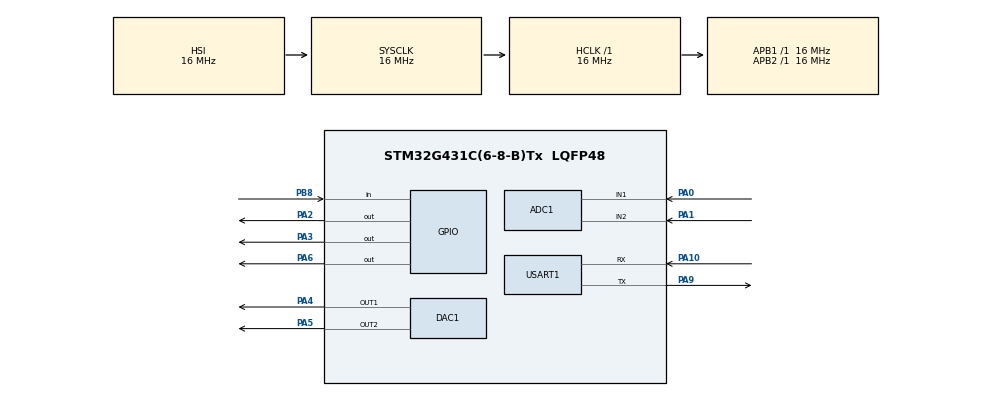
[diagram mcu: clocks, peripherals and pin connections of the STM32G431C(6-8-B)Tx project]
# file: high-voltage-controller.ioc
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ADC1.Channel-3\#ChannelRegularConversion=ADC_CHANNEL_1
ADC1.Channel-4\#ChannelRegularConversion=ADC_CHANNEL_1
ADC1.ContinuousConvMode=ENABLE
ADC1.DMAContinuousRequests=ENABLE
ADC1.EOCSelection=ADC_EOC_SEQ_CONV
ADC1.NbrOfConversion=2
ADC1.NbrOfConversionFlag=1
ADC1.OffsetNumber-3\#ChannelRegularConversion=ADC_OFFSET_NONE
ADC1.OffsetNumber-4\#ChannelRegularConversion=ADC_OFFSET_NONE
ADC1.Rank-3\#ChannelRegularConversion=1
ADC1.Rank-4\#ChannelRegularConversion=2
ADC1.SamplingTime-3\#ChannelRegularConversion=ADC_SAMPLETIME_640CYCLES_5
ADC1.SamplingTime-4\#ChannelRegularConversion=ADC_SAMPLETIME_640CYCLES_5
ADC1.master=1
DAC1.DAC_Channel-DAC_OUT2=DAC_CHANNEL_2
DAC1.DAC_Trigger_OUT2-DAC_OUT2=DAC_TRIGGER_T6_TRGO
Dma.ADC1.0.Direction=DMA_PERIPH_TO_MEMORY
Dma.ADC1.0.EventEnable=DISABLE
Dma.ADC1.0.Instance=DMA1_Channel3
Dma.ADC1.0.MemDataAlignment=DMA_MDATAALIGN_HALFWORD
Dma.ADC1.0.MemInc=DMA_MINC_ENABLE
Dma.ADC1.0.Mode=DMA_CIRCULAR
Dma.ADC1.0.PeriphDataAlignment=DMA_PDATAALIGN_HALFWORD
Dma.ADC1.0.PeriphInc=DMA_PINC_DISABLE
Dma.ADC1.0.Polarity=HAL_DMAMUX_REQ_GEN_RISING
Dma.ADC1.0.Priority=DMA_PRIORITY_LOW
Dma.ADC1.0.RequestNumber=1
Dma.ADC1.0.SignalID=NONE
Dma.ADC1.0.SyncEnable=DISABLE
Dma.ADC1.0.SyncPolarity=HAL_DMAMUX_SYNC_NO_EVENT
Dma.ADC1.0.SyncRequestNumber=1
Dma.ADC1.0.SyncSignalID=NONE
Dma.DAC1_CH2.1.Direction=DMA_MEMORY_TO_PERIPH
Dma.DAC1_CH2.1.EventEnable=DISABLE
Dma.DAC1_CH2.1.Instance=DMA1_Channel2
Dma.DAC1_CH2.1.MemDataAlignment=DMA_MDATAALIGN_HALFWORD
Dma.DAC1_CH2.1.MemInc=DMA_MINC_ENABLE
Dma.DAC1_CH2.1.Mode=DMA_NORMAL
Dma.DAC1_CH2.1.PeriphDataAlignment=DMA_PDATAALIGN_HALFWORD
Dma.DAC1_CH2.1.PeriphInc=DMA_PINC_DISABLE
Dma.DAC1_CH2.1.Polarity=HAL_DMAMUX_REQ_GEN_RISING
Dma.DAC1_CH2.1.Priority=DMA_PRIORITY_LOW
Dma.DAC1_CH2.1.RequestNumber=1
Dma.DAC1_CH2.1.SignalID=NONE
Dma.DAC1_CH2.1.SyncEnable=DISABLE
Dma.DAC1_CH2.1.SyncPolarity=HAL_DMAMUX_SYNC_NO_EVENT
Dma.DAC1_CH2.1.SyncRequestNumber=1
Dma.DAC1_CH2.1.SyncSignalID=NONE
Dma.Request0=ADC1
Dma.Request1=DAC1_CH2
Mcu.Family=STM32G4
Mcu.Name=STM32G431C(6-8-B)Tx
Mcu.Package=LQFP48
NVIC.DMA1_Channel2_IRQn=true\:0\:0\:false\:false\:true\:false\:true\:true
NVIC.DMA1_Channel3_IRQn=true\:0\:0\:false\:false\:true\:false\:true\:true
NVIC.PriorityGroup=NVIC_PRIORITYGROUP_4
NVIC.USART1_IRQn=true\:0\:0\:false\:false\:true\:true\:true\:true
PA0.Mode=IN1-Single-Ended
PA0.Signal=ADC1_IN1
PA1.Mode=IN2-Single-Ended
PA1.Signal=ADC1_IN2
PA10.Mode=Asynchronous
PA10.Signal=USART1_RX
PA13.Mode=Serial_Wire
PA13.Signal=SYS_JTMS-SWDIO
PA14.Mode=Serial_Wire
PA14.Signal=SYS_JTCK-SWCLK
PA2.GPIO_PuPd=GPIO_PULLDOWN
PA2.Signal=GPIO_Output
PA3.GPIO_PuPd=GPIO_PULLDOWN
PA3.Signal=GPIO_Output
PA4.Signal=SharedAnalog_PA4
PA5.Signal=SharedAnalog_PA5
PA6.GPIO_PuPd=GPIO_PULLDOWN
PA6.Signal=GPIO_Output
PA9.Mode=Asynchronous
PA9.Signal=USART1_TX
PB3.Signal=SYS_JTDO-SWO
PB8-BOOT0.Signal=GPIO_Input
ProjectManager.HeapSize=0x200
ProjectManager.StackSize=0x400
ProjectManager.TargetToolchain=CMake
RCC.ADC12Freq_Value=16000000
RCC.AHBFreq_Value=16000000
RCC.APB1Freq_Value=16000000
RCC.APB1TimFreq_Value=16000000
RCC.APB2Freq_Value=16000000
RCC.APB2TimFreq_Value=16000000
RCC.CortexFreq_Value=16000000
RCC.EXTERNAL_CLOCK_VALUE=12288000
RCC.HCLKFreq_Value=16000000
RCC.HSE_VALUE=8000000
RCC.HSI48_VALUE=48000000
RCC.HSI_VALUE=16000000
RCC.LSE_VALUE=32768
RCC.SYSCLKFreq_VALUE=16000000
RCC.USBFreq_Value=64000000
RCC.VCOOutputFreq_Value=128000000
SH.SharedAnalog_PA4.0=GPIO_Analog
SH.SharedAnalog_PA4.1=DAC1_OUT1,DAC_OUT1
SH.SharedAnalog_PA5.0=GPIO_Analog
SH.SharedAnalog_PA5.1=DAC1_OUT2,DAC_OUT2
SYS.VoltageScaling=SYSCFG_VREFBUF_VOLTAGE_SCALE1
TIM6.AutoReloadPreload=TIM_AUTORELOAD_PRELOAD_ENABLE
TIM6.PeriodNoDither=999
TIM6.Prescaler=15999
TIM6.TIM_MasterOutputTrigger=TIM_TRGO_UPDATE
USART1.VirtualMode-Asynchronous=VM_ASYNC
VP_SYS_VS_DBSignals.Mode=DisableDeadBatterySignals
VP_TIM6_VS_ClockSourceINT.Mode=Enable_Timer
VREF+.Mode=InternalMode
VREF+.Signal=VREFBUF_OUT
board=custom

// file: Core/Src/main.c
/* USER CODE BEGIN Header */
/**
  ******************************************************************************
  * @file           : main.c
  * @brief          : Main program body
  ******************************************************************************
  * @attention
  *
  * Copyright (c) 2026 STMicroelectronics.
  * All rights reserved.
  *
  * This software is licensed under terms that can be found in the LICENSE file
  * in the root directory of this software component.
  * If no LICENSE file comes with this software, it is provided AS-IS.
  *
  ******************************************************************************
  */
/* USER CODE END Header */
#include "main.h"

/* USER CODE BEGIN Includes */
#include <inttypes.h>

/* USER CODE END Includes */

ADC_HandleTypeDef hadc1;
DMA_HandleTypeDef hdma_adc1;

DAC_HandleTypeDef hdac1;
DMA_HandleTypeDef hdma_dac1_ch2;

TIM_HandleTypeDef htim6;

UART_HandleTypeDef huart1;

/* USER CODE BEGIN PV */
// Data variables
#define MAX_POINTS 1000
#define V_REF 2.5f // use 2.5V analog reference voltage
#define CURRENT_LIMIT_VOLTAGE 0.2f
#define ADC_READ_PERIOD 20 // in ms

// TEST
volatile uint32_t dac_index = 0;
uint16_t current_dac_value = 0;

// GPIO variables
#define CTRL_PORT        GPIOA
#define PIN_OUTPUT_CTRL  GPIO_PIN_10
#define PIN_REMOTE_CTRL  GPIO_PIN_11
#define PIN_INTERLOCK    GPIO_PIN_14

// MCU state logic
typedef enum {
  STATE_WAIT_HEADER,
  STATE_WAIT_PAYLOAD,
  STATE_READY,
  STATE_RUNNING
} AppState_t;

volatile AppState_t sys_state = STATE_WAIT_HEADER;

// RX: Signal Data
typedef struct __attribute__((packed)) {
    char header; // 'D' for data
    uint32_t num_points;
    float time_step;
} DataHeader_t;

DataHeader_t rx_header;
float rx_voltages[MAX_POINTS];
uint16_t dac_buffer[MAX_POINTS];
char rx_flag;

// Misc flags
// 2 bytes: rx_cmd[0] = Command (S, O), rx_cmd[1] = Parameter (1 or 0)
// S: start experiment, O: turn off
uint8_t rx_cmd[2];

// TX: ADC Data
uint16_t adc_values[2]; // 0: voltage, 1: current

typedef struct __attribute__((packed)) {
    uint16_t sync_word; // 0xA5A5
    uint16_t v_adc;
    uint16_t i_adc;
} TelemetryPacket_t;

TelemetryPacket_t tx_packet = { .sync_word = 0xA5A5 };
uint32_t last_tx_tick = 0;
/* USER CODE END PV */

void SystemClock_Config(void);
static void MX_GPIO_Init(void);
static void MX_DMA_Init(void);
static void MX_DAC1_Init(void);
static void MX_TIM6_Init(void);
static void MX_ADC1_Init(void);
static void MX_USART1_UART_Init(void);

/* USER CODE BEGIN 0 */
void Configure_TIM6_TimeStep(float dt_minutes) {
  float dt_seconds = dt_minutes * 60.0f;
  HAL_TIM_Base_Stop(&htim6);

  uint32_t prescaler = 15999;
  uint32_t arr_value = (uint32_t)(dt_seconds * 10000.0f) - 1;

  if (arr_value > 65535) {
      prescaler = 63999;
      arr_value = (uint32_t)(dt_seconds * 2500.0f) - 1;
  }

  __HAL_TIM_SET_PRESCALER(&htim6, prescaler);
  __HAL_TIM_SET_AUTORELOAD(&htim6, arr_value);

  htim6.Instance->EGR = TIM_EGR_UG;

  __HAL_TIM_SET_COUNTER(&htim6, 0);

}

void HAL_UART_RxCpltCallback(UART_HandleTypeDef *huart) {
  if (huart->Instance == USART1) {

      // State logic
      switch (sys_state) {
          case STATE_WAIT_HEADER:
              if (rx_header.header == 'D') {
                  sys_state = STATE_WAIT_PAYLOAD;
                  // Read incoming data
                  HAL_UART_Receive_IT(&huart1, (uint8_t*)rx_voltages, rx_header.num_points * sizeof(float));
              } else {
                  // Invalid data; flush and try again
                  HAL_UART_Receive_IT(&huart1, (uint8_t*)&rx_header, sizeof(DataHeader_t));
              }
              break;

          case STATE_WAIT_PAYLOAD:
              // Process data into DAC inputs
              for (uint32_t i = 0; i < rx_header.num_points; i++) {
                  dac_buffer[i] = rx_voltages[i];
              }

              // Set timer speed
              Configure_TIM6_TimeStep(rx_header.time_step);

              // Tell PC the MCU is ready
              uint8_t ready_msg = 'R';
              HAL_UART_Transmit_IT(&huart1, &ready_msg, 1);

              sys_state = STATE_READY;

              __HAL_UART_CLEAR_OREFLAG(&huart1);
              __HAL_UART_CLEAR_NEFLAG(&huart1);
              __HAL_UART_CLEAR_FEFLAG(&huart1);

              uint32_t dummy = huart1.Instance->RDR;
              (void)dummy;

              // Now re-arm the interrupt
              HAL_UART_Receive_IT(&huart1, rx_cmd, 2);

              HAL_UART_Receive_IT(&huart1, rx_cmd, 2);
              break;

          case STATE_READY:
          case STATE_RUNNING:
              // S: Start experiment
              if (sys_state == STATE_READY && rx_cmd[0] == 'S') {
                  HAL_TIM_Base_Stop(&htim6);

                  __HAL_DAC_CLEAR_FLAG(&hdac1, DAC_FLAG_DMAUDR2);

                  WRITE_REG(DMA1->IFCR, DMA_IFCR_CTCIF2 | DMA_IFCR_CHTIF2 | DMA_IFCR_CTEIF2 | DMA_IFCR_CGIF2);
                  // Set DAC CH2 to output data
                  HAL_DAC_Start_DMA(&hdac1, DAC_CHANNEL_2, (uint32_t*) dac_buffer, rx_header.num_points, DAC_ALIGN_12B_R);
                  HAL_TIM_Base_Start(&htim6);

                  // Set interlock ON
                  HAL_GPIO_WritePin(CTRL_PORT, PIN_OUTPUT_CTRL, GPIO_PIN_SET);
                  sys_state = STATE_RUNNING;
              }

              // O: Turn Off flag
              else if (rx_cmd[0] == 'O') {
                  HAL_TIM_Base_Stop(&htim6);
                  HAL_DAC_Stop_DMA(&hdac1, DAC_CHANNEL_2);

                  // Set output off
                  HAL_GPIO_WritePin(CTRL_PORT, PIN_OUTPUT_CTRL, GPIO_PIN_RESET);
                  sys_state = STATE_READY;
              }
              // C: Remote / Local Control flag
              else if (rx_cmd[0] == 'C') {
                  if (rx_cmd[1] == 1 || rx_cmd[1] == '1') {
                      HAL_GPIO_WritePin(CTRL_PORT, PIN_REMOTE_CTRL, GPIO_PIN_SET);   // Remote (Pin 11 HIGH)
                  } else if (rx_cmd[1] == 0 || rx_cmd[1] == '0') {
                      HAL_GPIO_WritePin(CTRL_PORT, PIN_REMOTE_CTRL, GPIO_PIN_RESET); // Front Panel / Local (Pin 11 LOW)
                  }
              }

              HAL_UART_Receive_IT(&huart1, rx_cmd, 2);
              break;

      }
  }
}
/* USER CODE END 0 */

int main(void)
{

  /* MCU Configuration--------------------------------------------------------*/

  /* Reset of all peripherals, Initializes the Flash interface and the Systick. */
  HAL_Init();

  /* Configure the system clock */
  SystemClock_Config();

  /* Initialize all configured peripherals */
  MX_GPIO_Init();
  MX_DMA_Init();
  MX_DAC1_Init();
  MX_TIM6_Init();
  MX_ADC1_Init();
  MX_USART1_UART_Init();
  /* USER CODE BEGIN 2 */

  // Set DAC CH1 output | limit / 2 since op amp gain is 2
  uint32_t current_limit_dac_val = (uint32_t) (((CURRENT_LIMIT_VOLTAGE / 2) / V_REF) * 4095.0f);
  HAL_DAC_SetValue(&hdac1, DAC_CHANNEL_1, DAC_ALIGN_12B_R, current_limit_dac_val);
  HAL_DAC_Start(&hdac1, DAC_CHANNEL_1);

  // Start ADC monitoring
  HAL_ADCEx_Calibration_Start(&hadc1, ADC_SINGLE_ENDED);
  HAL_ADC_Start_DMA(&hadc1, (uint32_t*)adc_values, 2);

  // State logic
  sys_state = STATE_WAIT_HEADER;
  HAL_UART_Receive_IT(&huart1, (uint8_t*)&rx_header, sizeof(DataHeader_t));

  /* USER CODE END 2 */

  /* Infinite loop */
  while (1)
  {

    /* USER CODE BEGIN 3 */
    if (sys_state == STATE_RUNNING) {

        // Transmit ADC data every 20ms (50 Hz)
        if (HAL_GetTick() - last_tx_tick >= ADC_READ_PERIOD) {

            if (huart1.gState == HAL_UART_STATE_READY) {
                last_tx_tick = HAL_GetTick();

                tx_packet.v_adc = adc_values[0];
                tx_packet.i_adc = adc_values[1];

                // Send ADC data to PC
                HAL_UART_Transmit_IT(&huart1, (uint8_t*)&tx_packet, sizeof(TelemetryPacket_t));
            }
        }
    }
  }
  /* USER CODE END 3 */
}

void SystemClock_Config(void)
{
  RCC_OscInitTypeDef RCC_OscInitStruct = {0};
  RCC_ClkInitTypeDef RCC_ClkInitStruct = {0};

  /** Configure the main internal regulator output voltage
  */
  HAL_PWREx_ControlVoltageScaling(PWR_REGULATOR_VOLTAGE_SCALE1);

  /** Initializes the RCC Oscillators according to the specified parameters
  * in the RCC_OscInitTypeDef structure.
  */
  RCC_OscInitStruct.OscillatorType = RCC_OSCILLATORTYPE_HSI;
  RCC_OscInitStruct.HSIState = RCC_HSI_ON;
  RCC_OscInitStruct.HSICalibrationValue = RCC_HSICALIBRATION_DEFAULT;
  RCC_OscInitStruct.PLL.PLLState = RCC_PLL_NONE;
  if (HAL_RCC_OscConfig(&RCC_OscInitStruct) != HAL_OK)
  {
    Error_Handler();
  }

  /** Initializes the CPU, AHB and APB buses clocks
  */
  RCC_ClkInitStruct.ClockType = RCC_CLOCKTYPE_HCLK|RCC_CLOCKTYPE_SYSCLK
                              |RCC_CLOCKTYPE_PCLK1|RCC_CLOCKTYPE_PCLK2;
  RCC_ClkInitStruct.SYSCLKSource = RCC_SYSCLKSOURCE_HSI;
  RCC_ClkInitStruct.AHBCLKDivider = RCC_SYSCLK_DIV1;
  RCC_ClkInitStruct.APB1CLKDivider = RCC_HCLK_DIV1;
  RCC_ClkInitStruct.APB2CLKDivider = RCC_HCLK_DIV1;

  if (HAL_RCC_ClockConfig(&RCC_ClkInitStruct, FLASH_LATENCY_0) != HAL_OK)
  {
    Error_Handler();
  }
}

static void MX_ADC1_Init(void)
{

  ADC_MultiModeTypeDef multimode = {0};
  ADC_ChannelConfTypeDef sConfig = {0};

  /** Common config
  */
  hadc1.Instance = ADC1;
  hadc1.Init.ClockPrescaler = ADC_CLOCK_SYNC_PCLK_DIV2;
  hadc1.Init.Resolution = ADC_RESOLUTION_12B;
  hadc1.Init.DataAlign = ADC_DATAALIGN_RIGHT;
  hadc1.Init.GainCompensation = 0;
  hadc1.Init.ScanConvMode = ADC_SCAN_ENABLE;
  hadc1.Init.EOCSelection = ADC_EOC_SEQ_CONV;
  hadc1.Init.LowPowerAutoWait = DISABLE;
  hadc1.Init.ContinuousConvMode = ENABLE;
  hadc1.Init.NbrOfConversion = 2;
  hadc1.Init.DiscontinuousConvMode = DISABLE;
  hadc1.Init.ExternalTrigConv = ADC_SOFTWARE_START;
  hadc1.Init.ExternalTrigConvEdge = ADC_EXTERNALTRIGCONVEDGE_NONE;
  hadc1.Init.DMAContinuousRequests = ENABLE;
  hadc1.Init.Overrun = ADC_OVR_DATA_PRESERVED;
  hadc1.Init.OversamplingMode = DISABLE;
  if (HAL_ADC_Init(&hadc1) != HAL_OK)
  {
    Error_Handler();
  }

  /** Configure the ADC multi-mode
  */
  multimode.Mode = ADC_MODE_INDEPENDENT;
  if (HAL_ADCEx_MultiModeConfigChannel(&hadc1, &multimode) != HAL_OK)
  {
    Error_Handler();
  }

  /** Configure Regular Channel
  */
  sConfig.Channel = ADC_CHANNEL_1;
  sConfig.Rank = ADC_REGULAR_RANK_1;
  sConfig.SamplingTime = ADC_SAMPLETIME_640CYCLES_5;
  sConfig.SingleDiff = ADC_SINGLE_ENDED;
  sConfig.OffsetNumber = ADC_OFFSET_NONE;
  sConfig.Offset = 0;
  if (HAL_ADC_ConfigChannel(&hadc1, &sConfig) != HAL_OK)
  {
    Error_Handler();
  }

  /** Configure Regular Channel
  */
  sConfig.Rank = ADC_REGULAR_RANK_2;
  if (HAL_ADC_ConfigChannel(&hadc1, &sConfig) != HAL_OK)
  {
    Error_Handler();
  }

}

static void MX_DAC1_Init(void)
{

  DAC_ChannelConfTypeDef sConfig = {0};

  /** DAC Initialization
  */
  hdac1.Instance = DAC1;
  if (HAL_DAC_Init(&hdac1) != HAL_OK)
  {
    Error_Handler();
  }

  /** DAC channel OUT1 config
  */
  sConfig.DAC_HighFrequency = DAC_HIGH_FREQUENCY_INTERFACE_MODE_AUTOMATIC;
  sConfig.DAC_DMADoubleDataMode = DISABLE;
  sConfig.DAC_SignedFormat = DISABLE;
  sConfig.DAC_SampleAndHold = DAC_SAMPLEANDHOLD_DISABLE;
  sConfig.DAC_Trigger = DAC_TRIGGER_NONE;
  sConfig.DAC_Trigger2 = DAC_TRIGGER_NONE;
  sConfig.DAC_OutputBuffer = DAC_OUTPUTBUFFER_ENABLE;
  sConfig.DAC_ConnectOnChipPeripheral = DAC_CHIPCONNECT_EXTERNAL;
  sConfig.DAC_UserTrimming = DAC_TRIMMING_FACTORY;
  if (HAL_DAC_ConfigChannel(&hdac1, &sConfig, DAC_CHANNEL_1) != HAL_OK)
  {
    Error_Handler();
  }

  /** DAC channel OUT2 config
  */
  sConfig.DAC_Trigger = DAC_TRIGGER_T6_TRGO;
  if (HAL_DAC_ConfigChannel(&hdac1, &sConfig, DAC_CHANNEL_2) != HAL_OK)
  {
    Error_Handler();
  }

}

static void MX_TIM6_Init(void)
{

  TIM_MasterConfigTypeDef sMasterConfig = {0};

  htim6.Instance = TIM6;
  htim6.Init.Prescaler = 15999;
  htim6.Init.CounterMode = TIM_COUNTERMODE_UP;
  htim6.Init.Period = 999;
  htim6.Init.AutoReloadPreload = TIM_AUTORELOAD_PRELOAD_ENABLE;
  if (HAL_TIM_Base_Init(&htim6) != HAL_OK)
  {
    Error_Handler();
  }
  sMasterConfig.MasterOutputTrigger = TIM_TRGO_UPDATE;
  sMasterConfig.MasterSlaveMode = TIM_MASTERSLAVEMODE_DISABLE;
  if (HAL_TIMEx_MasterConfigSynchronization(&htim6, &sMasterConfig) != HAL_OK)
  {
    Error_Handler();
  }

}

static void MX_USART1_UART_Init(void)
{

  huart1.Instance = USART1;
  huart1.Init.BaudRate = 115200;
  huart1.Init.WordLength = UART_WORDLENGTH_8B;
  huart1.Init.StopBits = UART_STOPBITS_1;
  huart1.Init.Parity = UART_PARITY_NONE;
  huart1.Init.Mode = UART_MODE_TX_RX;
  huart1.Init.HwFlowCtl = UART_HWCONTROL_NONE;
  huart1.Init.OverSampling = UART_OVERSAMPLING_16;
  huart1.Init.OneBitSampling = UART_ONE_BIT_SAMPLE_DISABLE;
  huart1.Init.ClockPrescaler = UART_PRESCALER_DIV1;
  huart1.AdvancedInit.AdvFeatureInit = UART_ADVFEATURE_NO_INIT;
  if (HAL_UART_Init(&huart1) != HAL_OK)
  {
    Error_Handler();
  }
  if (HAL_UARTEx_SetTxFifoThreshold(&huart1, UART_TXFIFO_THRESHOLD_1_8) != HAL_OK)
  {
    Error_Handler();
  }
  if (HAL_UARTEx_SetRxFifoThreshold(&huart1, UART_RXFIFO_THRESHOLD_1_8) != HAL_OK)
  {
    Error_Handler();
  }
  if (HAL_UARTEx_DisableFifoMode(&huart1) != HAL_OK)
  {
    Error_Handler();
  }

}

static void MX_DMA_Init(void)
{

  /* DMA controller clock enable */
  __HAL_RCC_DMAMUX1_CLK_ENABLE();
  __HAL_RCC_DMA1_CLK_ENABLE();

  /* DMA interrupt init */
  /* DMA1_Channel2_IRQn interrupt configuration */
  HAL_NVIC_SetPriority(DMA1_Channel2_IRQn, 0, 0);
  HAL_NVIC_EnableIRQ(DMA1_Channel2_IRQn);
  /* DMA1_Channel3_IRQn interrupt configuration */
  HAL_NVIC_SetPriority(DMA1_Channel3_IRQn, 0, 0);
  HAL_NVIC_EnableIRQ(DMA1_Channel3_IRQn);

}

static void MX_GPIO_Init(void)
{
  GPIO_InitTypeDef GPIO_InitStruct = {0};

  /* GPIO Ports Clock Enable */
  __HAL_RCC_GPIOA_CLK_ENABLE();
  __HAL_RCC_GPIOB_CLK_ENABLE();

  /*Configure GPIO pin Output Level */
  HAL_GPIO_WritePin(GPIOA, GPIO_PIN_2|GPIO_PIN_3|GPIO_PIN_6, GPIO_PIN_RESET);

  /*Configure GPIO pins : PA2 PA3 PA6 */
  GPIO_InitStruct.Pin = GPIO_PIN_2|GPIO_PIN_3|GPIO_PIN_6;
  GPIO_InitStruct.Mode = GPIO_MODE_OUTPUT_PP;
  GPIO_InitStruct.Pull = GPIO_PULLDOWN;
  GPIO_InitStruct.Speed = GPIO_SPEED_FREQ_LOW;
  HAL_GPIO_Init(GPIOA, &GPIO_InitStruct);

  /*Configure GPIO pin : PB8 */
  GPIO_InitStruct.Pin = GPIO_PIN_8;
  GPIO_InitStruct.Mode = GPIO_MODE_INPUT;
  GPIO_InitStruct.Pull = GPIO_NOPULL;
  HAL_GPIO_Init(GPIOB, &GPIO_InitStruct);

}

void Error_Handler(void)
{
  __disable_irq();
  while (1)
  {
  }
}
